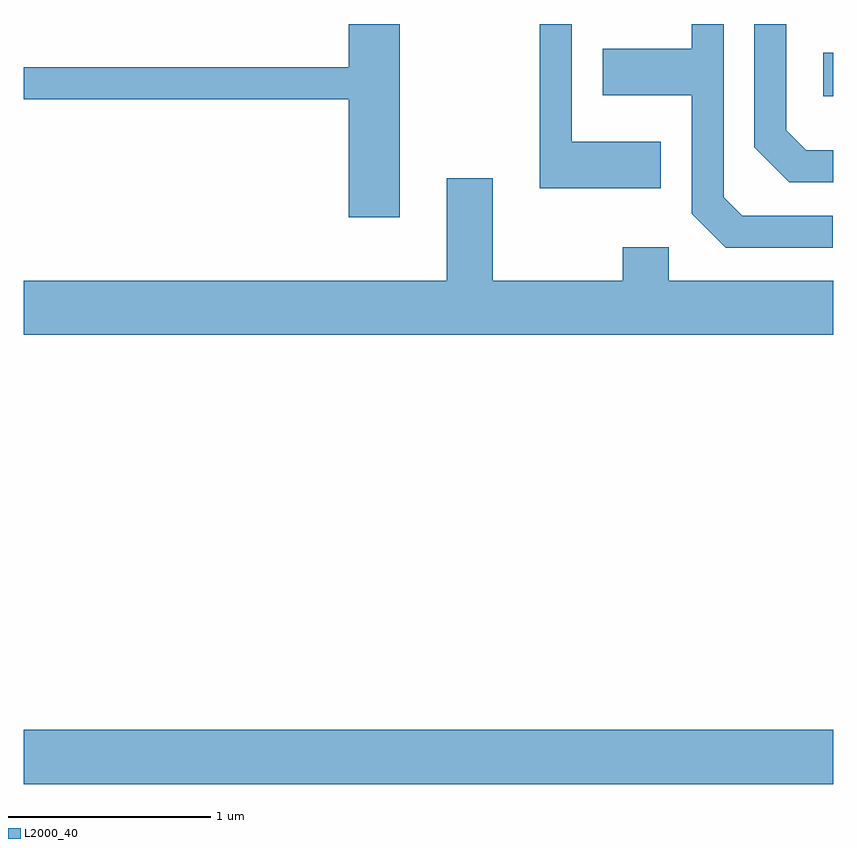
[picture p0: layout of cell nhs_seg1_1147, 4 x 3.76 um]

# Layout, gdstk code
import gdstk
lib = gdstk.Library(unit=1e-6, precision=1e-09)
def R(c, l, rs):  # rectangles x0, y0, x1, y1
    for r in rs: c.add(gdstk.rectangle(r[:2], r[2:], *l))
def P(c, l, *ps):  # polygons
    for p in ps: c.add(gdstk.Polygon(p, *l))
L2000_40 = (2000, 40)

nhs_seg1_1147 = lib.new_cell('nhs_seg1_1147')
R(nhs_seg1_1147, L2000_40, [(219.611,963.956,223.611,964.224), (223.561,967.356,223.611,967.569)])
P(nhs_seg1_1147, L2000_40, [(223.608,966.764),(223.162,966.764),(223.069,966.857),(223.069,967.712),(222.911,967.712),(222.911,967.589),(222.471,967.589),(222.471,967.361),(222.911,967.361),(222.911,966.774),(223.079,966.606),(223.608,966.606)],
  [(222.759,967.129),(222.319,967.129),(222.319,967.712),(222.161,967.712),(222.161,966.901),(222.759,966.901)],
  [(221.469,967.712),(221.216,967.712),(221.216,967.499),(219.611,967.499),(219.611,967.341),(221.216,967.341),(221.216,966.756),(221.469,966.756)],
  [(223.611,967.089),(223.477,967.089),(223.379,967.187),(223.379,967.712),(223.221,967.712),(223.221,967.104),(223.394,966.931),(223.611,966.931)],
  [(223.611,966.444),(222.799,966.444),(222.799,966.609),(222.571,966.609),(222.571,966.444),(221.929,966.444),(221.929,966.949),(221.701,966.949),(221.701,966.444),(219.611,966.444),(219.611,966.176),(223.611,966.176)])

lib.write_gds('nhs_seg1_1147.gds')
